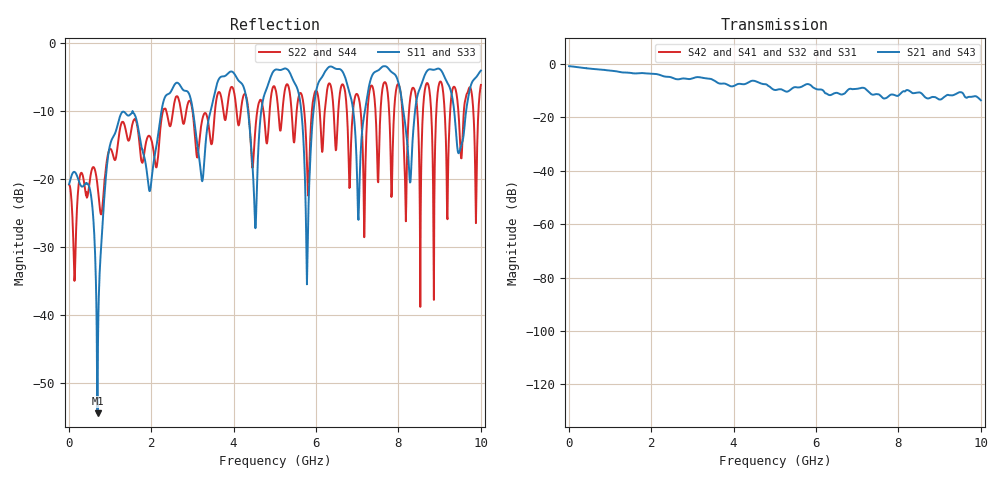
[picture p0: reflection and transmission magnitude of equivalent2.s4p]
! Generated by SPUtility circuit solver
# GHZ S RI R 50
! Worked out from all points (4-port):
!   1000 points, 10 MHz to 10 GHz, reference 50 ohm
!   strongest paths, dB at 10 MHz, 2.51 GHz, 5.01 GHz, 7.51 GHz, 10 GHz:
!     S21: -0.8, -5.2, -9.8, -11.4, -13.6
!     S43: -0.8, -5.1, -9.8, -11.4, -13.6
!     S42: -, -, -, -, -
!     S41: -, -, -, -, -
!     S32: -, -, -, -, -
!     S31: -, -, -, -, -
!   lowest |S11| = -54.4 dB at 700 MHz (marker M1), VSWR 1.00, Z = 50.2 - j0.0823 ohm
!   |S11| at or under -10 dB: start of sweep to 1.548 GHz; 1.552 GHz to 2.25 GHz (697.5 MHz wide, 36.7 % of centre); 3.016 GHz to 3.441 GHz (425.3 MHz wide, 13.2 % of centre)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
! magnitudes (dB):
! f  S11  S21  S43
! 10 MHz  -20.7  -0.8  -0.8
! 700 MHz  -54.4  -2.0  -2.0
! 1.31 GHz  -10.1  -3.2  -3.2
! 5.29 GHz  -3.8  -10.4  -10.4
! 5.79 GHz  -32.4  -7.5  -7.5
! 6.3 GHz  -3.5  -11.5  -11.5
! 10 GHz  -4.0  -13.6  -13.6
